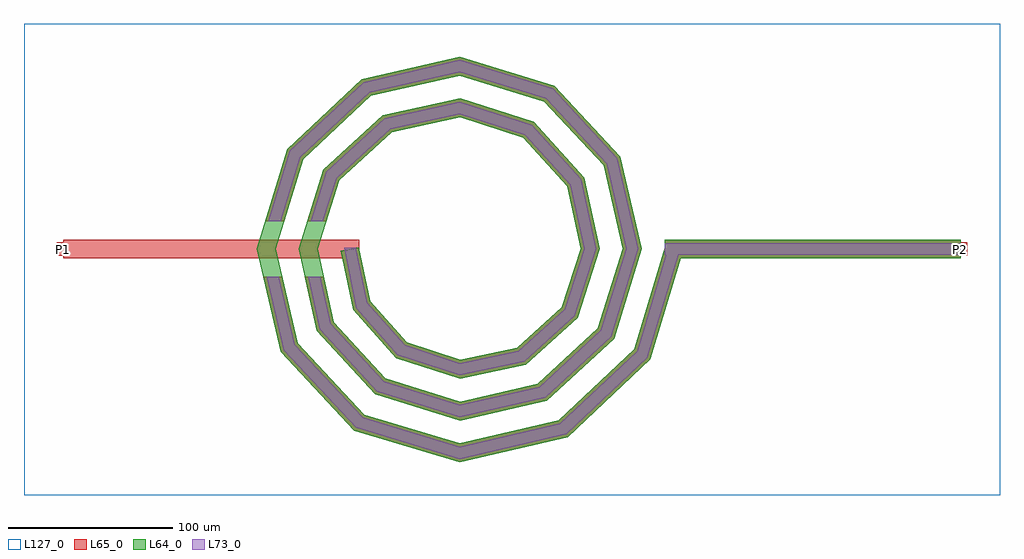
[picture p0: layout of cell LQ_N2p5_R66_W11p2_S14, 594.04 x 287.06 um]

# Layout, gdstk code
import gdstk
lib = gdstk.Library(unit=1e-6, precision=1e-09)
def R(c, l, rs):  # rectangles x0, y0, x1, y1
    for r in rs: c.add(gdstk.rectangle(r[:2], r[2:], *l))
def P(c, l, *ps):  # polygons
    for p in ps: c.add(gdstk.Polygon(p, *l))
L64_0 = (64, 0)
L65_0 = (65, 0)
L73_0 = (73, 0)
L127_0 = (127, 0)

lq_n2p5_r66_w11p2_s14 = lib.new_cell('LQ_N2p5_R66_W11p2_S14')
R(lq_n2p5_r66_w11p2_s14, L64_0, [(124.882,-5.6,304.882,5.6)])
P(lq_n2p5_r66_w11p2_s14, L64_0, [(-54.474,-31.835),(-32.328,-56.641),(0.314,-67.34),(34.996,-60.005),(62.145,-35.537),(73.712,0.289),(65.535,38.161),(38.742,67.652),(0.267,80.083),(-41.33,71.063),(-73.16,41.945),(-86.455,0.249),(-76.59,-44.5),(-45.145,-78.67),(0.233,-92.827),(47.673,-82.116),(84.181,-48.344),(99.199,0.219),(87.641,50.847),(51.541,89.693),(0.206,105.571),(-54.023,93.165),(-95.205,54.737),(-111.943,0.195),(-98.689,-57.199),(-57.932,-100.718),(0.185,-118.315),(60.377,-104.212),(106.232,-61.126),(125.12,1.614),(135.844,-1.614),(116.091,-67.232),(65.857,-114.431),(0.185,-129.905),(-64.053,-110.567),(-108.917,-62.662),(-123.532,0.195),(-105.043,60.876),(-59.467,103.404),(0.206,117.159),(57.7,99.518),(97.891,56.27),(110.787,0.219),(93.993,-54.525),(53.072,-92.379),(0.233,-104.414),(-51.351,-88.466),(-86.867,-49.872),(-98.041,0.249),(-82.939,48.179),(-46.67,81.357),(0.267,91.668),(45.009,77.41),(75.848,43.466),(85.294,0.289),(71.879,-41.842),(40.259,-70.34),(0.314,-78.921),(-38.678,-66.346),(-64.834,-37.047),(-72.243,-1.131),(-61.274,1.131)])
R(lq_n2p5_r66_w11p2_s14, L65_0, [(-241.158,-5.6,-61.158,5.6), (124.882,-5.6,304.882,5.6), (-245.158,-4,-237.158,4), (300.882,-4,308.882,4)])
P(lq_n2p5_r66_w11p2_s14, L65_0, [(-98.689,-57.199),(-57.932,-100.718),(0.185,-118.315),(60.377,-104.212),(106.232,-61.127),(125.12,1.614),(135.845,-1.614),(116.091,-67.232),(65.857,-114.432),(0.185,-129.905),(-64.053,-110.567),(-108.917,-62.662),(-119.581,-16.8),(-108.082,-16.8)],
  [(-76.59,-44.5),(-45.145,-78.67),(0.233,-92.827),(47.673,-82.116),(84.181,-48.344),(99.199,0.219),(87.641,50.847),(51.541,89.693),(0.206,105.571),(-54.023,93.165),(-95.205,54.737),(-106.764,16.8),(-118.473,16.8),(-105.043,60.876),(-59.467,103.404),(0.206,117.159),(57.7,99.518),(97.891,56.27),(110.787,0.219),(93.993,-54.525),(53.072,-92.379),(0.233,-104.414),(-51.351,-88.466),(-86.867,-49.872),(-94.24,-16.8),(-82.765,-16.8)],
  [(-32.328,-56.641),(0.314,-67.341),(34.996,-60.005),(62.145,-35.537),(73.712,0.289),(65.535,38.161),(38.742,67.652),(0.267,80.083),(-41.33,71.063),(-73.16,41.945),(-81.083,16.8),(-92.826,16.8),(-82.939,48.179),(-46.67,81.357),(0.267,91.668),(45.009,77.41),(75.848,43.466),(85.295,0.289),(71.879,-41.842),(40.259,-70.34),(0.314,-78.921),(-38.678,-66.346),(-64.834,-37.047),(-72.243,-1.131),(-61.274,1.131),(-54.474,-31.835)])
R(lq_n2p5_r66_w11p2_s14, L73_0, [(124.882,-3.6,304.882,3.6)])
P(lq_n2p5_r66_w11p2_s14, L73_0, [(-100.515,-58.175),(-59.025,-102.477),(0.119,-120.384),(61.356,-106.037),(107.993,-62.217),(127.035,1.038),(133.929,-1.038),(114.33,-66.141),(64.878,-112.607),(0.119,-127.835),(-62.96,-108.808),(-107.091,-61.687),(-117.527,-16.8),(-110.135,-16.8)],
  [(-78.425,-45.459),(-46.253,-80.419),(0.15,-94.896),(48.637,-83.948),(85.933,-49.448),(101.268,0.141),(89.471,51.815),(52.641,91.447),(0.133,107.64),(-54.995,94.994),(-96.962,55.834),(-108.855,16.8),(-116.382,16.8),(-103.286,59.78),(-58.494,101.576),(0.133,115.09),(56.6,97.764),(96.061,55.301),(108.717,0.141),(92.241,-53.421),(52.108,-90.546),(0.15,-102.345),(-50.243,-86.717),(-85.032,-48.913),(-92.191,-16.8),(-84.814,-16.8)],
  [(-33.462,-58.374),(0.202,-69.408),(35.936,-61.851),(63.884,-36.663),(75.78,0.186),(67.376,39.109),(39.861,69.394),(0.172,82.152),(-42.283,72.901),(-74.906,43.058),(-83.18,16.8),(-90.729,16.8),(-81.193,47.066),(-45.716,79.519),(0.172,89.599),(43.89,75.667),(74.006,42.519),(83.226,0.186),(70.141,-40.716),(39.319,-68.495),(0.202,-76.853),(-37.544,-64.613),(-62.984,-36.117),(-70.284,0.727),(-63.233,0.727),(-56.324,-32.766)])
R(lq_n2p5_r66_w11p2_s14, L127_0, [(-265.158,-149.905,328.882,137.159)])
lq_n2p5_r66_w11p2_s14.add(gdstk.Label('P2', (304.882,0), layer=65, texttype=0))
lq_n2p5_r66_w11p2_s14.add(gdstk.Label('P1', (-241.158,0), layer=65, texttype=0))
lq_n2p5_r66_w11p2_s14.add(gdstk.Label('P2', (308.882,0), layer=145, texttype=0))
lq_n2p5_r66_w11p2_s14.add(gdstk.Label('P1', (-245.158,0), layer=145, texttype=0))

lib.write_gds('LQ_N2p5_R66_W11p2_S14.gds')
